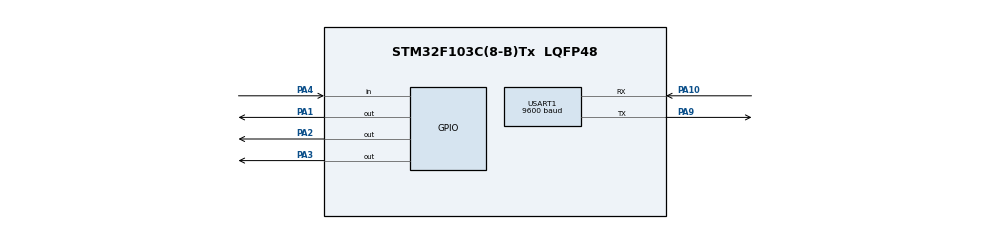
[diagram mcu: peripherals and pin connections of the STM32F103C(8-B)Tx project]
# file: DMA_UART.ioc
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Dma.Request0=USART1_RX
Dma.Request1=USART1_TX
Dma.USART1_RX.0.Direction=DMA_PERIPH_TO_MEMORY
Dma.USART1_RX.0.Instance=DMA1_Channel5
Dma.USART1_RX.0.MemDataAlignment=DMA_MDATAALIGN_BYTE
Dma.USART1_RX.0.MemInc=DMA_MINC_ENABLE
Dma.USART1_RX.0.Mode=DMA_NORMAL
Dma.USART1_RX.0.PeriphDataAlignment=DMA_PDATAALIGN_BYTE
Dma.USART1_RX.0.PeriphInc=DMA_PINC_DISABLE
Dma.USART1_RX.0.Priority=DMA_PRIORITY_LOW
Dma.USART1_TX.1.Direction=DMA_MEMORY_TO_PERIPH
Dma.USART1_TX.1.Instance=DMA1_Channel4
Dma.USART1_TX.1.MemDataAlignment=DMA_MDATAALIGN_BYTE
Dma.USART1_TX.1.MemInc=DMA_MINC_ENABLE
Dma.USART1_TX.1.Mode=DMA_NORMAL
Dma.USART1_TX.1.PeriphDataAlignment=DMA_PDATAALIGN_BYTE
Dma.USART1_TX.1.PeriphInc=DMA_PINC_DISABLE
Dma.USART1_TX.1.Priority=DMA_PRIORITY_LOW
Mcu.Family=STM32F1
Mcu.Name=STM32F103C(8-B)Tx
Mcu.Package=LQFP48
NVIC.DMA1_Channel4_IRQn=true\:0\:0\:false\:false\:true\:false
NVIC.DMA1_Channel5_IRQn=true\:0\:0\:false\:false\:true\:false
NVIC.PriorityGroup=NVIC_PRIORITYGROUP_4
NVIC.USART1_IRQn=true\:0\:0\:false\:false\:true\:true
PA1.PinState=GPIO_PIN_SET
PA1.Signal=GPIO_Output
PA10.Mode=Asynchronous
PA10.Signal=USART1_RX
PA13.Mode=Serial_Wire
PA13.Signal=SYS_JTMS-SWDIO
PA14.Mode=Serial_Wire
PA14.Signal=SYS_JTCK-SWCLK
PA2.PinState=GPIO_PIN_SET
PA2.Signal=GPIO_Output
PA3.PinState=GPIO_PIN_SET
PA3.Signal=GPIO_Output
PA4.GPIO_PuPd=GPIO_PULLUP
PA4.Signal=GPIO_Input
PA9.Mode=Asynchronous
PA9.Signal=USART1_TX
ProjectManager.HeapSize=0x200
ProjectManager.StackSize=0x400
ProjectManager.TargetToolchain=MDK-ARM V5
RCC.APB1Freq_Value=8000000
RCC.APB2Freq_Value=8000000
USART1.BaudRate=9600
USART1.VirtualMode=VM_ASYNC
board=custom

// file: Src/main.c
/* USER CODE BEGIN Header */
/**
  ******************************************************************************
  * @file           : main.c
  * @brief          : Main program body
  ******************************************************************************
  ** This notice applies to any and all portions of this file
  * that are not between comment pairs USER CODE BEGIN and
  * USER CODE END. Other portions of this file, whether
  * inserted by the user or by software development tools
  * are owned by their respective copyright owners.
  *
  * COPYRIGHT(c) 2019 STMicroelectronics
  *
  * Redistribution and use in source and binary forms, with or without modification,
  * are permitted provided that the following conditions are met:
  *   1. Redistributions of source code must retain the above copyright notice,
  *      this list of conditions and the following disclaimer.
  *   2. Redistributions in binary form must reproduce the above copyright notice,
  *      this list of conditions and the following disclaimer in the documentation
  *      and/or other materials provided with the distribution.
  *   3. Neither the name of STMicroelectronics nor the names of its contributors
  *      may be used to endorse or promote products derived from this software
  *      without specific prior written permission.
  *
  * THIS SOFTWARE IS PROVIDED BY THE COPYRIGHT HOLDERS AND CONTRIBUTORS "AS IS"
  * AND ANY EXPRESS OR IMPLIED WARRANTIES, INCLUDING, BUT NOT LIMITED TO, THE
  * IMPLIED WARRANTIES OF MERCHANTABILITY AND FITNESS FOR A PARTICULAR PURPOSE ARE
  * DISCLAIMED. IN NO EVENT SHALL THE COPYRIGHT HOLDER OR CONTRIBUTORS BE LIABLE
  * FOR ANY DIRECT, INDIRECT, INCIDENTAL, SPECIAL, EXEMPLARY, OR CONSEQUENTIAL
  * DAMAGES (INCLUDING, BUT NOT LIMITED TO, PROCUREMENT OF SUBSTITUTE GOODS OR
  * SERVICES; LOSS OF USE, DATA, OR PROFITS; OR BUSINESS INTERRUPTION) HOWEVER
  * CAUSED AND ON ANY THEORY OF LIABILITY, WHETHER IN CONTRACT, STRICT LIABILITY,
  * OR TORT (INCLUDING NEGLIGENCE OR OTHERWISE) ARISING IN ANY WAY OUT OF THE USE
  * OF THIS SOFTWARE, EVEN IF ADVISED OF THE POSSIBILITY OF SUCH DAMAGE.
  *
  ******************************************************************************
  */
/* USER CODE END Header */

#include "main.h"

UART_HandleTypeDef huart1;
DMA_HandleTypeDef hdma_usart1_rx;
DMA_HandleTypeDef hdma_usart1_tx;

/* USER CODE BEGIN PV */
const uint8_t TrRecSizeBuf = 10;
uint8_t TranDataBuf[TrRecSizeBuf]={0,1,2,3,4,5,6,7,8,9};
uint8_t  RecDataBuf[TrRecSizeBuf]={0};
uint8_t AlarmStr[] = {"发送长度太大了，要小于等于10"};
uint8_t TranData = 0;
uint8_t  RecData = 0;
uint8_t Rx_Cnt = 0;

/* USER CODE END PV */

void SystemClock_Config(void);
static void MX_GPIO_Init(void);
static void MX_DMA_Init(void);
static void MX_USART1_UART_Init(void);

int main(void)
{

  /* MCU Configuration--------------------------------------------------------*/

  /* Reset of all peripherals, Initializes the Flash interface and the Systick. */
  HAL_Init();

  /* Configure the system clock */
  SystemClock_Config();

  /* Initialize all configured peripherals */
  MX_GPIO_Init();
  MX_DMA_Init();
  MX_USART1_UART_Init();
  /* USER CODE BEGIN 2 */

//HAL_UART_Transmit_IT(&huart1, TranDataBuf, sizeof(TranDataBuf) );//发送//exit

//HAL_UART_Receive_IT(&huart1, RecDataBuf, sizeof(RecDataBuf) );//接受//exit

 HAL_UART_Transmit_DMA(&huart1, &TranData , 1 );//DMA接受 与 发送
 HAL_UART_Receive_DMA (&huart1, &RecData,  1  );

  /* USER CODE END 2 */

  /* Infinite loop */
  while (1)
  {

  }
}

void SystemClock_Config(void)
{
  RCC_OscInitTypeDef RCC_OscInitStruct = {0};
  RCC_ClkInitTypeDef RCC_ClkInitStruct = {0};

  /**Initializes the CPU, AHB and APB busses clocks
  */
  RCC_OscInitStruct.OscillatorType = RCC_OSCILLATORTYPE_HSI;
  RCC_OscInitStruct.HSIState = RCC_HSI_ON;
  RCC_OscInitStruct.HSICalibrationValue = RCC_HSICALIBRATION_DEFAULT;
  RCC_OscInitStruct.PLL.PLLState = RCC_PLL_NONE;
  if (HAL_RCC_OscConfig(&RCC_OscInitStruct) != HAL_OK)
  {
    Error_Handler();
  }
  /**Initializes the CPU, AHB and APB busses clocks
  */
  RCC_ClkInitStruct.ClockType = RCC_CLOCKTYPE_HCLK|RCC_CLOCKTYPE_SYSCLK
                              |RCC_CLOCKTYPE_PCLK1|RCC_CLOCKTYPE_PCLK2;
  RCC_ClkInitStruct.SYSCLKSource = RCC_SYSCLKSOURCE_HSI;
  RCC_ClkInitStruct.AHBCLKDivider = RCC_SYSCLK_DIV1;
  RCC_ClkInitStruct.APB1CLKDivider = RCC_HCLK_DIV1;
  RCC_ClkInitStruct.APB2CLKDivider = RCC_HCLK_DIV1;

  if (HAL_RCC_ClockConfig(&RCC_ClkInitStruct, FLASH_LATENCY_0) != HAL_OK)
  {
    Error_Handler();
  }
}

static void MX_USART1_UART_Init(void)
{

  huart1.Instance = USART1;
  huart1.Init.BaudRate = 9600;
  huart1.Init.WordLength = UART_WORDLENGTH_8B;
  huart1.Init.StopBits = UART_STOPBITS_1;
  huart1.Init.Parity = UART_PARITY_NONE;
  huart1.Init.Mode = UART_MODE_TX_RX;
  huart1.Init.HwFlowCtl = UART_HWCONTROL_NONE;
  huart1.Init.OverSampling = UART_OVERSAMPLING_16;
  if (HAL_UART_Init(&huart1) != HAL_OK)
  {
    Error_Handler();
  }

}

static void MX_DMA_Init(void)
{
  /* DMA controller clock enable */
  __HAL_RCC_DMA1_CLK_ENABLE();

  /* DMA interrupt init */
  /* DMA1_Channel4_IRQn interrupt configuration */
  HAL_NVIC_SetPriority(DMA1_Channel4_IRQn, 0, 0);
  HAL_NVIC_EnableIRQ(DMA1_Channel4_IRQn);
  /* DMA1_Channel5_IRQn interrupt configuration */
  HAL_NVIC_SetPriority(DMA1_Channel5_IRQn, 0, 0);
  HAL_NVIC_EnableIRQ(DMA1_Channel5_IRQn);

}

static void MX_GPIO_Init(void)
{
  GPIO_InitTypeDef GPIO_InitStruct = {0};

  /* GPIO Ports Clock Enable */
  __HAL_RCC_GPIOA_CLK_ENABLE();

  /*Configure GPIO pin Output Level */
  HAL_GPIO_WritePin(GPIOA, GPIO_PIN_1|GPIO_PIN_2|GPIO_PIN_3, GPIO_PIN_SET);

  /*Configure GPIO pins : PA1 PA2 PA3 */
  GPIO_InitStruct.Pin = GPIO_PIN_1|GPIO_PIN_2|GPIO_PIN_3;
  GPIO_InitStruct.Mode = GPIO_MODE_OUTPUT_PP;
  GPIO_InitStruct.Pull = GPIO_NOPULL;
  GPIO_InitStruct.Speed = GPIO_SPEED_FREQ_LOW;
  HAL_GPIO_Init(GPIOA, &GPIO_InitStruct);

  /*Configure GPIO pin : PA4 */
  GPIO_InitStruct.Pin = GPIO_PIN_4;
  GPIO_InitStruct.Mode = GPIO_MODE_INPUT;
  GPIO_InitStruct.Pull = GPIO_PULLUP;
  HAL_GPIO_Init(GPIOA, &GPIO_InitStruct);

}

/* USER CODE BEGIN 4 */
void HAL_UART_TxCpltCallback(UART_HandleTypeDef *huart)//发送完成 回调
{

//HAL_UART_Transmit_IT(&huart1, TranDataBuf, sizeof(TranDataBuf) );//再开启//发送//exit

	 //HAL_UART_Transmit_DMA(&huart1, TranDataBuf, sizeof(TranDataBuf) );//重新使能DMA发送

}

void HAL_UART_RxCpltCallback(UART_HandleTypeDef *huart)//接受完成 回调
{
/*
	HAL_UART_Transmit_DMA(&huart1, &TranData , 1 );
 HAL_UART_Receive_DMA (&huart1, &RecData,  1  );
	*/
//	HAL_UART_Transmit_IT(&huart1, RecDataBuf, sizeof(RecDataBuf) );//发送 接受到的数据

//	HAL_UART_Receive_IT(&huart1, RecDataBuf, sizeof(RecDataBuf) );//再 开启接受中断

	if(Rx_Cnt >= TrRecSizeBuf-1 )//接受缓存区已经满了
	{
		HAL_UART_Transmit_DMA(&huart1, AlarmStr , sizeof(AlarmStr) );//发送报警提示

				for(  Rx_Cnt = 0;Rx_Cnt<TrRecSizeBuf;Rx_Cnt++)//清空缓冲区
				{
				RecDataBuf[Rx_Cnt] = 0;
				}

		Rx_Cnt = 0;//指向开始

	}else{//继续接收

					RecDataBuf[Rx_Cnt] = RecData;

					if( 1 )//如果是换行结束符 则这一句发送上位机 RecDataBuf[Rx_Cnt]== 0x0D&& RecDataBuf[Rx_Cnt-1]==0x0A
						{
							HAL_UART_Transmit_DMA(&huart1, &RecData , 1 );

//							for(  Rx_Cnt = 0;Rx_Cnt<TrRecSizeBuf;Rx_Cnt++)//清空缓冲区
//								{
//								   RecDataBuf[Rx_Cnt] = 0;
//								}
//
//						   Rx_Cnt = 0;//发送完成后，指向开始

						}else{

					//		HAL_UART_Transmit_DMA(&huart1, &RecData , 1 );//回显
							Rx_Cnt++;//指向下一位置,,继续下一句接受

								}

						HAL_UART_Receive_DMA (&huart1, &RecData,  1  );//重新使能DMA接受
				}//缓冲区没有满继续接收

	//HAL_UART_Receive_DMA (&huart1, &RecData,  1  );//重新使能DMA接受
 //HAL_UART_Receive_DMA (&huart1,  RecDataBuf,  sizeof(RecDataBuf)  );//重新使能DMA接受

}

/* USER CODE END 4 */

void Error_Handler(void)
{
}

/************************ (C) COPYRIGHT STMicroelectronics *****END OF FILE****/
